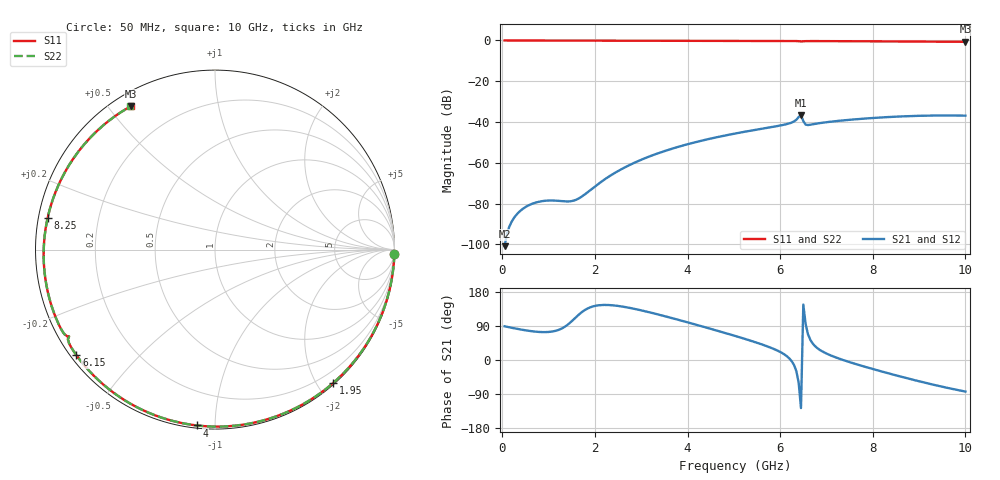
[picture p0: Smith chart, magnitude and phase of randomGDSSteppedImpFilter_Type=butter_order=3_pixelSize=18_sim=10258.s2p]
! freq	dB(S11)	phase(S11)	dB(S12)	phase(S12)
!  dB(S21)	phase(S21)	dB(S22)	phase(S22)
!S-par simulation data
#  GHz  S  DB  R 50
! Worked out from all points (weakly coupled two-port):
!   200 points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, 50 MHz to 10 GHz, reference 50 ohm
!   highest |S21| = -36.57 dB at 6.45 GHz (marker M1); lowest = -100.8 dB at 50 MHz (marker M2)
!   lowest |S11| = -0.7 dB at 10 GHz (marker M3), VSWR 26.05, Z = 2.55 + j28.6 ohm
!   |S11| at or under -10 dB: nowhere
!   |S22| runs from -0.7 to 0.0 dB; largest |S21 - S12| = 0
!   S11 on the Smith chart (normalised r, x): 50 MHz: 0, -89; 1.95 GHz: 0.02, -2.22; 4 GHz: 0.01, -0.90; 6.15 GHz: 0.02, -0.34; 8.25 GHz: 0.03, +0.09; 10 GHz: 0.05, +0.57
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0.05  -0.00 -1.3  -100.85 89.0  -100.85 89.0  -0.00 -1.3
0.65  -0.02 -16.4  -80.02 75.7  -80.02 75.7  -0.02 -16.4
0.75  -0.02 -18.9  -79.29 74.4  -79.29 74.4  -0.02 -18.9
1  -0.03 -25.2  -78.47 74.0  -78.47 74.0  -0.03 -25.2
1.45  -0.05 -36.3  -78.89 96.9  -78.89 96.9  -0.05 -36.3
1.75  -0.06 -43.6  -76.00 129.2  -76.00 129.2  -0.06 -43.6
1.95  -0.06 -48.5  -72.48 141.1  -72.48 141.1  -0.06 -48.4
2.6  -0.08 -63.9  -62.77 140.8  -62.77 140.8  -0.08 -63.9
3.4  -0.11 -82.4  -55.02 119.1  -55.02 119.1  -0.11 -82.3
4  -0.13 -95.8  -50.88 99.4  -50.88 99.4  -0.13 -95.7
5.05  -0.18 -118.7  -45.53 62.7  -45.53 62.7  -0.18 -118.7
6.15  -0.26 -142.7  -40.96 9.5  -40.96 9.5  -0.26 -142.6
6.3  -0.28 -146.2  -39.70 -13.3  -39.70 -13.3  -0.28 -146.1
6.45  -0.48 -149.3  -36.57 -126.9  -36.57 -126.9  -0.48 -149.2
6.5  -0.41 -149.5  -39.55 146.4  -39.55 146.4  -0.40 -149.4
6.55  -0.34 -150.7  -41.26 94.8  -41.26 94.8  -0.34 -150.6
6.7  -0.31 -154.3  -41.10 44.0  -41.10 44.0  -0.31 -154.2
7.5  -0.37 -172.7  -38.89 -5.6  -38.89 -5.6  -0.37 -172.6
8.25  -0.45 169.2  -37.66 -32.3  -37.66 -32.3  -0.45 169.3
8.35  -0.47 166.6  -37.53 -35.6  -37.53 -35.6  -0.47 166.8
9.2  -0.57 144.0  -36.84 -62.1  -36.84 -62.1  -0.57 144.2
10  -0.67 120.3  -36.87 -83.2  -36.87 -83.2  -0.67 120.6
